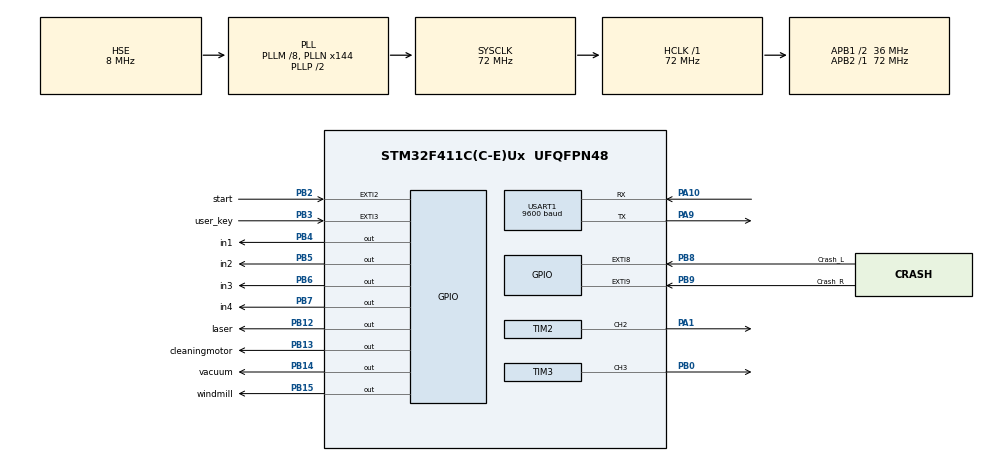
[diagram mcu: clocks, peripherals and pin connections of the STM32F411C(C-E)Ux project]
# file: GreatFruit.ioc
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Mcu.Family=STM32F4
Mcu.Name=STM32F411C(C-E)Ux
Mcu.Package=UFQFPN48
NVIC.EXTI2_IRQn=true\:0\:0\:false\:false\:true\:true\:true\:true
NVIC.EXTI3_IRQn=true\:0\:0\:false\:false\:true\:true\:true\:true
NVIC.PriorityGroup=NVIC_PRIORITYGROUP_4
NVIC.TIM4_IRQn=true\:0\:0\:false\:false\:true\:true\:true\:true
NVIC.USART1_IRQn=true\:0\:0\:false\:false\:true\:true\:true\:true
PA1.Signal=S_TIM2_CH2
PA10.Mode=Asynchronous
PA10.Signal=USART1_RX
PA13.Mode=Serial_Wire
PA13.Signal=SYS_JTMS-SWDIO
PA14.Mode=Serial_Wire
PA14.Signal=SYS_JTCK-SWCLK
PA9.Mode=Asynchronous
PA9.Signal=USART1_TX
PB0.Signal=S_TIM3_CH3
PB12.GPIO_Label=laser
PB12.Signal=GPIO_Output
PB13.GPIO_Label=cleaningmotor
PB13.Signal=GPIO_Output
PB14.GPIO_Label=vacuum
PB14.Signal=GPIO_Output
PB15.GPIO_Label=windmill
PB15.Signal=GPIO_Output
PB2.GPIO_Label=start
PB2.GPIO_ModeDefaultEXTI=GPIO_MODE_IT_RISING_FALLING
PB2.Signal=GPXTI2
PB3.GPIO_Label=user_key
PB3.GPIO_PuPd=GPIO_PULLUP
PB3.Signal=GPXTI3
PB4.GPIO_Label=in1
PB4.Signal=GPIO_Output
PB5.GPIO_Label=in2
PB5.Signal=GPIO_Output
PB6.GPIO_Label=in3
PB6.Signal=GPIO_Output
PB7.GPIO_Label=in4
PB7.Signal=GPIO_Output
PB8.GPIO_Label=Crash_L
PB8.GPIO_ModeDefaultEXTI=GPIO_MODE_IT_FALLING
PB8.Signal=GPXTI8
PB9.GPIO_Label=Crash_R
PB9.GPIO_ModeDefaultEXTI=GPIO_MODE_IT_FALLING
PB9.Signal=GPXTI9
PH0\ -\ OSC_IN.Mode=HSE-External-Oscillator
PH0\ -\ OSC_IN.Signal=RCC_OSC_IN
PH1\ -\ OSC_OUT.Mode=HSE-External-Oscillator
PH1\ -\ OSC_OUT.Signal=RCC_OSC_OUT
ProjectManager.HeapSize=0x200
ProjectManager.StackSize=0x400
ProjectManager.TargetToolchain=STM32CubeIDE
RCC.48MHZClocksFreq_Value=36000000
RCC.AHBFreq_Value=72000000
RCC.APB1CLKDivider=RCC_HCLK_DIV2
RCC.APB1Freq_Value=36000000
RCC.APB1TimFreq_Value=72000000
RCC.APB2Freq_Value=72000000
RCC.APB2TimFreq_Value=72000000
RCC.CortexFreq_Value=72000000
RCC.HCLKFreq_Value=72000000
RCC.HSE_VALUE=8000000
RCC.HSI_VALUE=16000000
RCC.LSE_VALUE=32768
RCC.PLLM=8
RCC.PLLN=144
RCC.PLLSourceVirtual=RCC_PLLSOURCE_HSE
RCC.SYSCLKFreq_VALUE=72000000
RCC.SYSCLKSource=RCC_SYSCLKSOURCE_PLLCLK
RCC.VCOOutputFreq_Value=144000000
SH.S_TIM2_CH2.0=TIM2_CH2,PWM Generation2 CH2
SH.S_TIM3_CH3.0=TIM3_CH3,PWM Generation3 CH3
TIM2.Channel-PWM\ Generation2\ CH2=TIM_CHANNEL_2
TIM2.Period=1000-1
TIM2.Prescaler=18-1
TIM3.Channel-PWM\ Generation3\ CH3=TIM_CHANNEL_3
TIM3.Period=1000-1
TIM3.Prescaler=18-1
TIM4.Period=1000-1
TIM4.Prescaler=36-1
USART1.BaudRate=9600
USART1.VirtualMode=VM_ASYNC
VP_TIM4_VS_ClockSourceINT.Mode=Internal
board=custom

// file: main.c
/* USER CODE BEGIN Header */
/**
  ******************************************************************************
  * @file           : main.c
  * @brief          : Main program body
  ******************************************************************************
  * @attention
  *
  * Copyright (c) 2024 STMicroelectronics.
  * All rights reserved.
  *
  * This software is licensed under terms that can be found in the LICENSE file
  * in the root directory of this software component.
  * If no LICENSE file comes with this software, it is provided AS-IS.
  *
  ******************************************************************************
  */
/* USER CODE END Header */
#include "main.h"

TIM_HandleTypeDef htim2;
TIM_HandleTypeDef htim3;
TIM_HandleTypeDef htim4;

UART_HandleTypeDef huart1;

/* USER CODE BEGIN PV */
uint8_t UART_flag = 0;

uint8_t Timer_flag = 0;
uint32_t Time = 0;
uint8_t oper_flag = 1;
uint8_t play_flag = 0;

uint8_t mode_ch[4];
uint8_t rotate_flag = 0;
uint16_t initial_speed = 1000;

uint8_t STOP_L_Flag = 0;
uint8_t STOP_R_Flag = 0;
uint16_t Time_1Sec = 0;

uint8_t crash_flag = 0;

/* USER CODE END PV */

void SystemClock_Config(void);
static void MX_GPIO_Init(void);
static void MX_TIM2_Init(void);
static void MX_TIM3_Init(void);
static void MX_USART1_UART_Init(void);
static void MX_TIM4_Init(void);
/* USER CODE BEGIN PFP */
#ifdef __cplusplus
	extern "C" int _write(int32_t file, uint8_t *ptr, int32_t len) {
#else
	int _write(int32_t file, uint8_t *ptr, int32_t len) {
#endif
	if( HAL_UART_Transmit(&huart1, ptr, len, len) == HAL_OK ) return len;
	else return 0;
}

/* USER CODE END PFP */

/* USER CODE BEGIN 0 */
void HAL_IncTick(void) {
	uwTick++;

	if ((uwTick % 1000) == 0)
	{
		Time_1Sec++;
	}
}

void HAL_TIM_PeriodElapsedCallback(TIM_HandleTypeDef *htim) {

	Time++;

	if(Time == 2 && rotate_flag == 1) {
		htim2.Instance->CCR2 = initial_speed;
		htim3.Instance->CCR3 = initial_speed;
		rotate_flag = 0;
		Time = 0;
		HAL_TIM_Base_Stop_IT(&htim4);
	}
}

void HAL_UART_RxCpltCallback(UART_HandleTypeDef *huart) {
	if(huart->Instance == USART1) {
		UART_flag = 1;
		HAL_UART_Receive_IT(&huart1, mode_ch, sizeof(mode_ch));
	}
}

void HAL_GPIO_EXTI_Callback(uint16_t GPIO_Pin) {
	if(GPIO_Pin == user_key_Pin) {
		play_flag = 1;
	}

    if(GPIO_Pin == start_Pin) {
    	play_flag = 0;
    	crash_flag = 0;
    	STOP_R_Flag = 0;
    	STOP_L_Flag = 0;
    	oper_flag = 1;
		htim2.Instance->CCR2 = 0;
		htim3.Instance->CCR3 = 0;
    }

    if(GPIO_Pin == Crash_L_Pin && crash_flag == 0) {
    	crash_flag = 1;

        STOP_L_Flag = 1;
        Time_1Sec = 0;
    }

    if(GPIO_Pin == Crash_R_Pin && crash_flag == 0) {
    	crash_flag = 1;

        STOP_R_Flag = 1;
        Time_1Sec = 0;
    }
}

void adjust_motor_speed(void) {
	if (mode_ch[0] == 'S' && mode_ch[1] == 'R'&&mode_ch[2] == 'I' && mode_ch[3] == 'E') {
		htim2.Instance->CCR2 = 850;
		htim3.Instance->CCR3 = initial_speed;

		__HAL_TIM_SET_COUNTER(&htim4, 0);
		rotate_flag = 1;
		HAL_TIM_Base_Start_IT(&htim4);
	}

	else if (mode_ch[0] == 'S' && mode_ch[1] == 'L'&&mode_ch[2] == 'E' && mode_ch[3] == 'E') {
		htim2.Instance->CCR2 = initial_speed;
		htim3.Instance->CCR3 = 800;

		__HAL_TIM_SET_COUNTER(&htim4, 0);
		rotate_flag = 1;
		HAL_TIM_Base_Start_IT(&htim4);
	}

	else if (mode_ch[0] == 'S' && mode_ch[1] == 'F'&&mode_ch[2] == 'R' && mode_ch[3] == 'E') {
		htim2.Instance->CCR2 = initial_speed;
		htim3.Instance->CCR3 = initial_speed;
		rotate_flag = 0;
	}

	else if (mode_ch[0] == 'S' && mode_ch[1] == 'S'&&mode_ch[2] == 'T' && mode_ch[3] == 'E') {
		htim2.Instance->CCR2 = 0;
		htim3.Instance->CCR3 = 0;

		HAL_GPIO_WritePin(laser_GPIO_Port, laser_Pin, 0);
		HAL_GPIO_WritePin(cleaningmotor_GPIO_Port, cleaningmotor_Pin, 0);
		HAL_GPIO_WritePin(vacuum_GPIO_Port, vacuum_Pin, 0);
		HAL_GPIO_WritePin(windmill_GPIO_Port, windmill_Pin, 0);

		play_flag = 0;
		rotate_flag = 0;
	}
}

/* USER CODE END 0 */

int main(void)
{

  /* MCU Configuration--------------------------------------------------------*/

  /* Reset of all peripherals, Initializes the Flash interface and the Systick. */
  HAL_Init();

  /* Configure the system clock */
  SystemClock_Config();

  /* Initialize all configured peripherals */
  MX_GPIO_Init();
  MX_TIM2_Init();
  MX_TIM3_Init();
  MX_USART1_UART_Init();
  MX_TIM4_Init();
  /* USER CODE BEGIN 2 */
  HAL_TIM_PWM_Start(&htim2, TIM_CHANNEL_2);
  HAL_TIM_PWM_Start(&htim3, TIM_CHANNEL_3);

  HAL_UART_Receive_IT(&huart1, mode_ch, sizeof(mode_ch));

  /* USER CODE END 2 */

  /* Infinite loop */
  /* USER CODE BEGIN WHILE */
  while (1)
  {
	  if(play_flag == 1) {

	      if(STOP_L_Flag == 1 && STOP_R_Flag == 0) {
	          	  if(Time_1Sec == 0 ) {
	          		  HAL_GPIO_WritePin(in1_GPIO_Port, in1_Pin, 0);
	          		  HAL_GPIO_WritePin(in2_GPIO_Port, in2_Pin, 1);
	          		  HAL_GPIO_WritePin(in3_GPIO_Port, in3_Pin, 0);
	          		  HAL_GPIO_WritePin(in4_GPIO_Port, in4_Pin, 1);

	          		  htim2.Instance->CCR2 = initial_speed;
	          		  htim3.Instance->CCR3 = initial_speed;
	          	  }
	              if(Time_1Sec == 2 ) {
	            	  HAL_GPIO_WritePin(in1_GPIO_Port, in1_Pin, 1);
		              HAL_GPIO_WritePin(in2_GPIO_Port, in2_Pin, 0);
		              HAL_GPIO_WritePin(in3_GPIO_Port, in3_Pin, 1);
		              HAL_GPIO_WritePin(in4_GPIO_Port, in4_Pin, 0);

	          		  htim2.Instance->CCR2 = initial_speed;
	          		  htim3.Instance->CCR3 = 800;
	              }
	              if(Time_1Sec == 3 ) {
	          		  htim2.Instance->CCR2 = 0;
	          		  htim3.Instance->CCR3 = 0;
	                  Time_1Sec = 0;
	                  STOP_L_Flag = 0;
	                  crash_flag = 0;
	              }
	      }

	      if(STOP_L_Flag == 0 && STOP_R_Flag == 1) {
				  if(Time_1Sec == 0 ) {
					  HAL_GPIO_WritePin(in1_GPIO_Port, in1_Pin, 0);
					  HAL_GPIO_WritePin(in2_GPIO_Port, in2_Pin, 1);
					  HAL_GPIO_WritePin(in3_GPIO_Port, in3_Pin, 0);
					  HAL_GPIO_WritePin(in4_GPIO_Port, in4_Pin, 1);

	          		  htim2.Instance->CCR2 = initial_speed;
	          		  htim3.Instance->CCR3 = initial_speed;
				  }
				  if(Time_1Sec == 2 ) {
					  HAL_GPIO_WritePin(in1_GPIO_Port, in1_Pin, 1);
					  HAL_GPIO_WritePin(in2_GPIO_Port, in2_Pin, 0);
					  HAL_GPIO_WritePin(in3_GPIO_Port, in3_Pin, 1);
					  HAL_GPIO_WritePin(in4_GPIO_Port, in4_Pin, 0);

	          		  htim2.Instance->CCR2 = 800;
	          		  htim3.Instance->CCR3 = initial_speed;
				  }
				  if(Time_1Sec == 3 ) {
	          		  htim2.Instance->CCR2 = 0;
	          		  htim3.Instance->CCR3 = 0;
					  Time_1Sec = 0;
					  STOP_R_Flag = 0;
					  crash_flag = 0;
				  }
	      }
	      if(STOP_L_Flag == 1 && STOP_R_Flag == 1) {
	            if(Time_1Sec == 0 ) {
	                HAL_GPIO_WritePin(in1_GPIO_Port, in1_Pin, 0);
	                HAL_GPIO_WritePin(in2_GPIO_Port, in2_Pin, 1);
	                HAL_GPIO_WritePin(in3_GPIO_Port, in3_Pin, 0);
	                HAL_GPIO_WritePin(in4_GPIO_Port, in4_Pin, 1);

	                htim2.Instance->CCR2 = initial_speed;
				    htim3.Instance->CCR3 = initial_speed;
	            }
	            if(Time_1Sec == 1 ) {
	            	  HAL_GPIO_WritePin(in1_GPIO_Port, in1_Pin, 1);
					  HAL_GPIO_WritePin(in2_GPIO_Port, in2_Pin, 0);
					  HAL_GPIO_WritePin(in3_GPIO_Port, in3_Pin, 1);
					  HAL_GPIO_WritePin(in4_GPIO_Port, in4_Pin, 0);

				    htim2.Instance->CCR2 = 800;
					htim3.Instance->CCR3 = initial_speed;
				}
	            if(Time_1Sec == 3 ) {
	            	htim2.Instance->CCR2 = 0;
				    htim3.Instance->CCR3 = 0;
					Time_1Sec = 0;
					STOP_L_Flag = 0;
					STOP_R_Flag = 0;
					crash_flag = 0;
				}
	        }

	        if(oper_flag == 1) {
			  HAL_UART_Receive_IT(&huart1, mode_ch, sizeof(mode_ch));

/*			  HAL_GPIO_WritePin(laser_GPIO_Port, laser_Pin, 1);
			  HAL_GPIO_WritePin(cleaningmotor_GPIO_Port, cleaningmotor_Pin, 1);
			  HAL_GPIO_WritePin(vacuum_GPIO_Port, vacuum_Pin, 1);
			  HAL_GPIO_WritePin(windmill_GPIO_Port, windmill_Pin, 1);*/

			  htim3.Instance->CCR3 = initial_speed;
			  HAL_GPIO_WritePin(in1_GPIO_Port, in1_Pin, 1);
			  HAL_GPIO_WritePin(in2_GPIO_Port, in2_Pin, 0);

			  htim2.Instance->CCR2 = initial_speed;
			  HAL_GPIO_WritePin(in3_GPIO_Port, in3_Pin, 1);
			  HAL_GPIO_WritePin(in4_GPIO_Port, in4_Pin, 0);

			  oper_flag = 0;
		   }
		   else if(UART_flag == 1){
			  adjust_motor_speed();
			  UART_flag = 0;
		   }
	  }

    /* USER CODE END WHILE */

  }
}

void SystemClock_Config(void)
{
  RCC_OscInitTypeDef RCC_OscInitStruct = {0};
  RCC_ClkInitTypeDef RCC_ClkInitStruct = {0};

  /** Configure the main internal regulator output voltage
  */
  __HAL_RCC_PWR_CLK_ENABLE();
  __HAL_PWR_VOLTAGESCALING_CONFIG(PWR_REGULATOR_VOLTAGE_SCALE1);

  /** Initializes the RCC Oscillators according to the specified parameters
  * in the RCC_OscInitTypeDef structure.
  */
  RCC_OscInitStruct.OscillatorType = RCC_OSCILLATORTYPE_HSE;
  RCC_OscInitStruct.HSEState = RCC_HSE_ON;
  RCC_OscInitStruct.PLL.PLLState = RCC_PLL_ON;
  RCC_OscInitStruct.PLL.PLLSource = RCC_PLLSOURCE_HSE;
  RCC_OscInitStruct.PLL.PLLM = 8;
  RCC_OscInitStruct.PLL.PLLN = 144;
  RCC_OscInitStruct.PLL.PLLP = RCC_PLLP_DIV2;
  RCC_OscInitStruct.PLL.PLLQ = 4;
  if (HAL_RCC_OscConfig(&RCC_OscInitStruct) != HAL_OK)
  {
    Error_Handler();
  }

  /** Initializes the CPU, AHB and APB buses clocks
  */
  RCC_ClkInitStruct.ClockType = RCC_CLOCKTYPE_HCLK|RCC_CLOCKTYPE_SYSCLK
                              |RCC_CLOCKTYPE_PCLK1|RCC_CLOCKTYPE_PCLK2;
  RCC_ClkInitStruct.SYSCLKSource = RCC_SYSCLKSOURCE_PLLCLK;
  RCC_ClkInitStruct.AHBCLKDivider = RCC_SYSCLK_DIV1;
  RCC_ClkInitStruct.APB1CLKDivider = RCC_HCLK_DIV2;
  RCC_ClkInitStruct.APB2CLKDivider = RCC_HCLK_DIV1;

  if (HAL_RCC_ClockConfig(&RCC_ClkInitStruct, FLASH_LATENCY_2) != HAL_OK)
  {
    Error_Handler();
  }
}

static void MX_TIM2_Init(void)
{

  TIM_MasterConfigTypeDef sMasterConfig = {0};
  TIM_OC_InitTypeDef sConfigOC = {0};

  htim2.Instance = TIM2;
  htim2.Init.Prescaler = 18-1;
  htim2.Init.CounterMode = TIM_COUNTERMODE_UP;
  htim2.Init.Period = 1000-1;
  htim2.Init.ClockDivision = TIM_CLOCKDIVISION_DIV1;
  htim2.Init.AutoReloadPreload = TIM_AUTORELOAD_PRELOAD_DISABLE;
  if (HAL_TIM_PWM_Init(&htim2) != HAL_OK)
  {
    Error_Handler();
  }
  sMasterConfig.MasterOutputTrigger = TIM_TRGO_RESET;
  sMasterConfig.MasterSlaveMode = TIM_MASTERSLAVEMODE_DISABLE;
  if (HAL_TIMEx_MasterConfigSynchronization(&htim2, &sMasterConfig) != HAL_OK)
  {
    Error_Handler();
  }
  sConfigOC.OCMode = TIM_OCMODE_PWM1;
  sConfigOC.Pulse = 0;
  sConfigOC.OCPolarity = TIM_OCPOLARITY_HIGH;
  sConfigOC.OCFastMode = TIM_OCFAST_DISABLE;
  if (HAL_TIM_PWM_ConfigChannel(&htim2, &sConfigOC, TIM_CHANNEL_2) != HAL_OK)
  {
    Error_Handler();
  }
  HAL_TIM_MspPostInit(&htim2);

}

static void MX_TIM3_Init(void)
{

  TIM_MasterConfigTypeDef sMasterConfig = {0};
  TIM_OC_InitTypeDef sConfigOC = {0};

  htim3.Instance = TIM3;
  htim3.Init.Prescaler = 18-1;
  htim3.Init.CounterMode = TIM_COUNTERMODE_UP;
  htim3.Init.Period = 1000-1;
  htim3.Init.ClockDivision = TIM_CLOCKDIVISION_DIV1;
  htim3.Init.AutoReloadPreload = TIM_AUTORELOAD_PRELOAD_DISABLE;
  if (HAL_TIM_PWM_Init(&htim3) != HAL_OK)
  {
    Error_Handler();
  }
  sMasterConfig.MasterOutputTrigger = TIM_TRGO_RESET;
  sMasterConfig.MasterSlaveMode = TIM_MASTERSLAVEMODE_DISABLE;
  if (HAL_TIMEx_MasterConfigSynchronization(&htim3, &sMasterConfig) != HAL_OK)
  {
    Error_Handler();
  }
  sConfigOC.OCMode = TIM_OCMODE_PWM1;
  sConfigOC.Pulse = 0;
  sConfigOC.OCPolarity = TIM_OCPOLARITY_HIGH;
  sConfigOC.OCFastMode = TIM_OCFAST_DISABLE;
  if (HAL_TIM_PWM_ConfigChannel(&htim3, &sConfigOC, TIM_CHANNEL_3) != HAL_OK)
  {
    Error_Handler();
  }
  HAL_TIM_MspPostInit(&htim3);

}

static void MX_TIM4_Init(void)
{

  TIM_ClockConfigTypeDef sClockSourceConfig = {0};
  TIM_MasterConfigTypeDef sMasterConfig = {0};

  htim4.Instance = TIM4;
  htim4.Init.Prescaler = 36-1;
  htim4.Init.CounterMode = TIM_COUNTERMODE_UP;
  htim4.Init.Period = 1000-1;
  htim4.Init.ClockDivision = TIM_CLOCKDIVISION_DIV1;
  htim4.Init.AutoReloadPreload = TIM_AUTORELOAD_PRELOAD_DISABLE;
  if (HAL_TIM_Base_Init(&htim4) != HAL_OK)
  {
    Error_Handler();
  }
  sClockSourceConfig.ClockSource = TIM_CLOCKSOURCE_INTERNAL;
  if (HAL_TIM_ConfigClockSource(&htim4, &sClockSourceConfig) != HAL_OK)
  {
    Error_Handler();
  }
  sMasterConfig.MasterOutputTrigger = TIM_TRGO_RESET;
  sMasterConfig.MasterSlaveMode = TIM_MASTERSLAVEMODE_DISABLE;
  if (HAL_TIMEx_MasterConfigSynchronization(&htim4, &sMasterConfig) != HAL_OK)
  {
    Error_Handler();
  }

}

static void MX_USART1_UART_Init(void)
{

  huart1.Instance = USART1;
  huart1.Init.BaudRate = 9600;
  huart1.Init.WordLength = UART_WORDLENGTH_8B;
  huart1.Init.StopBits = UART_STOPBITS_1;
  huart1.Init.Parity = UART_PARITY_NONE;
  huart1.Init.Mode = UART_MODE_TX_RX;
  huart1.Init.HwFlowCtl = UART_HWCONTROL_NONE;
  huart1.Init.OverSampling = UART_OVERSAMPLING_16;
  if (HAL_UART_Init(&huart1) != HAL_OK)
  {
    Error_Handler();
  }

}

static void MX_GPIO_Init(void)
{
  GPIO_InitTypeDef GPIO_InitStruct = {0};

  /* GPIO Ports Clock Enable */
  __HAL_RCC_GPIOH_CLK_ENABLE();
  __HAL_RCC_GPIOA_CLK_ENABLE();
  __HAL_RCC_GPIOB_CLK_ENABLE();

  /*Configure GPIO pin Output Level */
  HAL_GPIO_WritePin(GPIOB, laser_Pin|cleaningmotor_Pin|vacuum_Pin|windmill_Pin
                          |in1_Pin|in2_Pin|in3_Pin|in4_Pin, GPIO_PIN_RESET);

  /*Configure GPIO pin : start_Pin */
  GPIO_InitStruct.Pin = start_Pin;
  GPIO_InitStruct.Mode = GPIO_MODE_IT_RISING_FALLING;
  GPIO_InitStruct.Pull = GPIO_NOPULL;
  HAL_GPIO_Init(start_GPIO_Port, &GPIO_InitStruct);

  /*Configure GPIO pins : laser_Pin cleaningmotor_Pin vacuum_Pin windmill_Pin
                           in1_Pin in2_Pin in3_Pin in4_Pin */
  GPIO_InitStruct.Pin = laser_Pin|cleaningmotor_Pin|vacuum_Pin|windmill_Pin
                          |in1_Pin|in2_Pin|in3_Pin|in4_Pin;
  GPIO_InitStruct.Mode = GPIO_MODE_OUTPUT_PP;
  GPIO_InitStruct.Pull = GPIO_NOPULL;
  GPIO_InitStruct.Speed = GPIO_SPEED_FREQ_LOW;
  HAL_GPIO_Init(GPIOB, &GPIO_InitStruct);

  /*Configure GPIO pin : user_key_Pin */
  GPIO_InitStruct.Pin = user_key_Pin;
  GPIO_InitStruct.Mode = GPIO_MODE_IT_RISING;
  GPIO_InitStruct.Pull = GPIO_PULLUP;
  HAL_GPIO_Init(user_key_GPIO_Port, &GPIO_InitStruct);

  /*Configure GPIO pins : Crash_L_Pin Crash_R_Pin */
  GPIO_InitStruct.Pin = Crash_L_Pin|Crash_R_Pin;
  GPIO_InitStruct.Mode = GPIO_MODE_IT_FALLING;
  GPIO_InitStruct.Pull = GPIO_NOPULL;
  HAL_GPIO_Init(GPIOB, &GPIO_InitStruct);

  /* EXTI interrupt init*/
  HAL_NVIC_SetPriority(EXTI2_IRQn, 0, 0);
  HAL_NVIC_EnableIRQ(EXTI2_IRQn);

  HAL_NVIC_SetPriority(EXTI3_IRQn, 0, 0);
  HAL_NVIC_EnableIRQ(EXTI3_IRQn);

}

void Error_Handler(void)
{
  __disable_irq();
  while (1)
  {
  }
}
